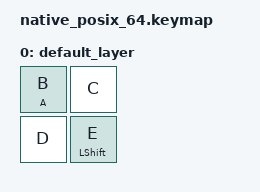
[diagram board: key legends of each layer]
#include <dt-bindings/zmk/keys.h>
#include <behaviors.dtsi>
#include <dt-bindings/zmk/kscan_mock.h>

/ {
    behaviors {
        lht_zero: behavior_linger_hold_tap_zero_default {
            compatible = "zmk,behavior-hold-tap";
            #binding-cells = <2>;
            flavor = "tap-preferred";
            tapping-term-ms = <200>;
            bindings = <&kp>, <&kp>;
        };
    };

    keymap {
        compatible = "zmk,keymap";
        default_layer {
            bindings = <
                &lht_zero A B &kp C
                &kp D &mt LSHIFT E
            >;
        };
    };
};

&kscan {
    events = <
        ZMK_MOCK_PRESS(0, 0, 250)
        ZMK_MOCK_RELEASE(0, 0, 50)
        ZMK_MOCK_PRESS(0, 1, 10)
        ZMK_MOCK_RELEASE(0, 1, 10)
    >;
};
